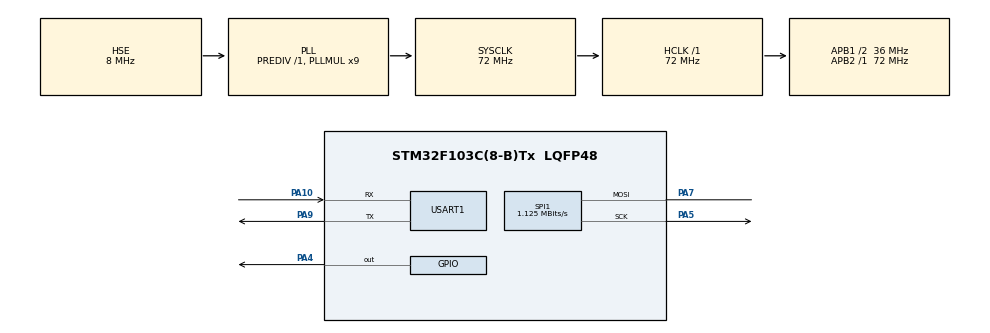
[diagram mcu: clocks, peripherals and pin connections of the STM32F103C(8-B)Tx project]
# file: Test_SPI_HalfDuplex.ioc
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Dma.Request0=USART1_RX
Dma.Request1=USART1_TX
Dma.USART1_RX.0.Direction=DMA_PERIPH_TO_MEMORY
Dma.USART1_RX.0.Instance=DMA1_Channel5
Dma.USART1_RX.0.MemDataAlignment=DMA_MDATAALIGN_BYTE
Dma.USART1_RX.0.MemInc=DMA_MINC_ENABLE
Dma.USART1_RX.0.Mode=DMA_NORMAL
Dma.USART1_RX.0.PeriphDataAlignment=DMA_PDATAALIGN_BYTE
Dma.USART1_RX.0.PeriphInc=DMA_PINC_DISABLE
Dma.USART1_RX.0.Priority=DMA_PRIORITY_LOW
Dma.USART1_TX.1.Direction=DMA_MEMORY_TO_PERIPH
Dma.USART1_TX.1.Instance=DMA1_Channel4
Dma.USART1_TX.1.MemDataAlignment=DMA_MDATAALIGN_BYTE
Dma.USART1_TX.1.MemInc=DMA_MINC_ENABLE
Dma.USART1_TX.1.Mode=DMA_NORMAL
Dma.USART1_TX.1.PeriphDataAlignment=DMA_PDATAALIGN_BYTE
Dma.USART1_TX.1.PeriphInc=DMA_PINC_DISABLE
Dma.USART1_TX.1.Priority=DMA_PRIORITY_LOW
Mcu.Family=STM32F1
Mcu.Name=STM32F103C(8-B)Tx
Mcu.Package=LQFP48
NVIC.DMA1_Channel4_IRQn=true\:4\:0\:true\:false\:true\:false\:true
NVIC.DMA1_Channel5_IRQn=true\:5\:0\:true\:false\:true\:false\:true
NVIC.PriorityGroup=NVIC_PRIORITYGROUP_4
NVIC.TIM3_IRQn=true\:10\:0\:true\:false\:true\:true\:true
NVIC.USART1_IRQn=true\:8\:0\:true\:false\:true\:true\:true
PA10.Mode=Asynchronous
PA10.Signal=USART1_RX
PA13.Mode=JTAG_4_pins
PA13.Signal=SYS_JTMS-SWDIO
PA14.Mode=JTAG_4_pins
PA14.Signal=SYS_JTCK-SWCLK
PA15.Mode=JTAG_4_pins
PA15.Signal=SYS_JTDI
PA4.Signal=GPIO_Output
PA5.Mode=Simplex_Bidirectional_Master
PA5.Signal=SPI1_SCK
PA7.Mode=Simplex_Bidirectional_Master
PA7.Signal=SPI1_MOSI
PA9.Mode=Asynchronous
PA9.Signal=USART1_TX
PB3.Mode=JTAG_4_pins
PB3.Signal=SYS_JTDO-TRACESWO
PC14-OSC32_IN.Mode=LSE-External-Oscillator
PC14-OSC32_IN.Signal=RCC_OSC32_IN
PC15-OSC32_OUT.Mode=LSE-External-Oscillator
PC15-OSC32_OUT.Signal=RCC_OSC32_OUT
PD0-OSC_IN.Mode=HSE-External-Oscillator
PD0-OSC_IN.Signal=RCC_OSC_IN
PD1-OSC_OUT.Mode=HSE-External-Oscillator
PD1-OSC_OUT.Signal=RCC_OSC_OUT
ProjectManager.HeapSize=0x200
ProjectManager.StackSize=0x400
ProjectManager.TargetToolchain=SW4STM32
RCC.AHBFreq_Value=72000000
RCC.APB1CLKDivider=RCC_HCLK_DIV2
RCC.APB1Freq_Value=36000000
RCC.APB1TimFreq_Value=72000000
RCC.APB2Freq_Value=72000000
RCC.APB2TimFreq_Value=72000000
RCC.HCLKFreq_Value=72000000
RCC.PLLMUL=RCC_PLL_MUL9
RCC.PLLSourceVirtual=RCC_PLLSOURCE_HSE
RCC.SYSCLKFreq_VALUE=72000000
RCC.SYSCLKSource=RCC_SYSCLKSOURCE_PLLCLK
RCC.USBFreq_Value=72000000
SPI1.BaudRatePrescaler=SPI_BAUDRATEPRESCALER_64
SPI1.CalculateBaudRate=1.125 MBits/s
SPI1.Direction=SPI_DIRECTION_1LINE
SPI1.FirstBit=SPI_FIRSTBIT_LSB
SPI1.Mode=SPI_MODE_MASTER
SPI1.VirtualType=VM_MASTER
TIM3.Period=4999
TIM3.Prescaler=7200
USART1.VirtualMode=VM_ASYNC
VP_TIM3_VS_ClockSourceINT.Mode=Internal
board=custom

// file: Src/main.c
/* USER CODE BEGIN Header */
/**
  ******************************************************************************
  * @file           : main.c
  * @brief          : Main program body
  ******************************************************************************
  * @attention
  *
  * <h2><center>&copy; Copyright (c) 2021 STMicroelectronics.
  * All rights reserved.</center></h2>
  *
  * This software component is licensed by ST under BSD 3-Clause license,
  * the "License"; You may not use this file except in compliance with the
  * License. You may obtain a copy of the License at:
  *                        opensource.org/licenses/BSD-3-Clause
  *
  ******************************************************************************
  */
/* USER CODE END Header */

#include "main.h"

/* USER CODE BEGIN Includes */
#include <string.h>
#include "stm32f1xx_hal.h"
#include "../ds1302/ds1302.h"
#include "../sdbg/sdbg.h"
/* USER CODE END Includes */

/* USER CODE BEGIN PD */
#define HOUR_FORMAT	(0) // 0 = 0-24h; 1= 0-12h
#define HOUR 		(17U)
#define MINUTES 	(25U)
#define SECONDS 	(00U)
#define AM_PM		(1U)
#define WEEKDAY 	(1U)
#define MONTHDAY 	(26U)
#define MONTH 		(9U)
#define YEAR 		(2021U)
/* USER CODE END PD */

/* USER CODE BEGIN PM */
#define DS1302_BCD2BIN(h,l)   (((h)*10) + (l))
/* USER CODE END PM */

SPI_HandleTypeDef hspi1;

TIM_HandleTypeDef htim3;

UART_HandleTypeDef huart1;
DMA_HandleTypeDef hdma_usart1_rx;
DMA_HandleTypeDef hdma_usart1_tx;

/* USER CODE BEGIN PV */
/* Number to print in the LCD */
static uint32_t encoderPos = 0;

static uint32_t Uart_TxInterrupts = 0;
uint8_t Rx_indx,Transfer_cplt;
char Rx_data[2],Rx_Buffer[100];
static uint8_t flag_spi=0;
static ds1302_T rtc;

static ds1302_cfg_T ds1302_config = {
	&hspi1,
	{GPIOA, GPIO_PIN_4}
};

/* USER CODE END PV */

void SystemClock_Config(void);
static void MX_GPIO_Init(void);
static void MX_DMA_Init(void);
static void MX_SPI1_Init(void);
static void MX_TIM3_Init(void);
static void MX_USART1_UART_Init(void);

/* USER CODE BEGIN 0 */
void HAL_TIM_PeriodElapsedCallback(TIM_HandleTypeDef *htim)
{
	//check if the interrupt comes from TIM3
	if (htim->Instance == TIM3){
		HAL_GPIO_TogglePin(GPIOC, GPIO_PIN_13);
		encoderPos=(encoderPos+1)%60;
		SDBG_print(&huart1,"%d : %d : %d",rtc.data.dateandtime.hours, rtc.data.dateandtime.minutes, rtc.data.dateandtime.seconds);
		flag_spi = 1u;
	}
}

void HAL_UART_TxCpltCallback(UART_HandleTypeDef *huart)
{
	if(huart->Instance == USART1)
	{
		Uart_TxInterrupts++;
	}
}

void HAL_UART_RxCpltCallback(UART_HandleTypeDef *huart)
{
	uint8_t i;
	if(huart->Instance == USART1)//Current UART
	{
		if(Rx_indx == 0)
		{
			for(i=0; i<100; i++)
			{
				Rx_Buffer[i]=0; //Clear rx_Buffer prior to use
			}
			//reset the user led if previously set
			HAL_GPIO_WritePin(GPIOC, GPIO_PIN_13, GPIO_PIN_RESET);
		}
		if(Rx_data[0]!=13)
		{
			Rx_Buffer[Rx_indx++] = Rx_data[0]; //add data to rxbuffer
		}
		else // if received data =13 (carriage return)
		{
			Rx_indx =0;
			Transfer_cplt =1; // transfer complete, data is ready
			HAL_UART_Transmit_DMA(&huart1,(uint8_t*)Rx_Buffer,(uint16_t)strlen(Rx_Buffer));
			HAL_UART_Transmit_DMA(&huart1,(uint8_t*)"\n\r",2u);
			if(!strcmp(Rx_Buffer,"On"))// LED trigger phase
			{
				HAL_GPIO_WritePin(GPIOC, GPIO_PIN_13, GPIO_PIN_SET);
			}
		}
		HAL_UART_Receive_DMA(&huart1,(uint8_t*)Rx_data,1u);// activate UART
		HAL_UART_Transmit_DMA(&huart1,(uint8_t*)Rx_data,(uint16_t)strlen(Rx_data));
	}
}

/* USER CODE END 0 */

int main(void)
{

  /* MCU Configuration--------------------------------------------------------*/

  /* Reset of all peripherals, Initializes the Flash interface and the Systick. */
  HAL_Init();

  /* Configure the system clock */
  SystemClock_Config();

  /* Initialize all configured peripherals */
  MX_GPIO_Init();
  MX_DMA_Init();
  MX_SPI1_Init();
  MX_TIM3_Init();
  MX_USART1_UART_Init();
  /* USER CODE BEGIN 2 */
	(void)HAL_UART_Receive_DMA(&huart1, (uint8_t*)Rx_data, 1u);
	DS1302_Init(&rtc, &ds1302_config);
	DS1302_setTime(&rtc, HOUR_FORMAT, HOUR, MINUTES, SECONDS, AM_PM, WEEKDAY, MONTHDAY, MONTH, YEAR);
	HAL_TIM_Base_Start_IT(&htim3);
  /* USER CODE END 2 */

  /* Infinite loop */
  /* USER CODE BEGIN WHILE */
	while (1)
	{
		if(flag_spi){
			DS1302_updateDateTime(&rtc);
			flag_spi=0;
		}
    /* USER CODE END WHILE */

	}
}

void SystemClock_Config(void)
{
  RCC_OscInitTypeDef RCC_OscInitStruct = {0};
  RCC_ClkInitTypeDef RCC_ClkInitStruct = {0};

  /** Initializes the CPU, AHB and APB busses clocks
  */
  RCC_OscInitStruct.OscillatorType = RCC_OSCILLATORTYPE_HSE;
  RCC_OscInitStruct.HSEState = RCC_HSE_ON;
  RCC_OscInitStruct.HSEPredivValue = RCC_HSE_PREDIV_DIV1;
  RCC_OscInitStruct.HSIState = RCC_HSI_ON;
  RCC_OscInitStruct.PLL.PLLState = RCC_PLL_ON;
  RCC_OscInitStruct.PLL.PLLSource = RCC_PLLSOURCE_HSE;
  RCC_OscInitStruct.PLL.PLLMUL = RCC_PLL_MUL9;
  if (HAL_RCC_OscConfig(&RCC_OscInitStruct) != HAL_OK)
  {
    Error_Handler();
  }
  /** Initializes the CPU, AHB and APB busses clocks
  */
  RCC_ClkInitStruct.ClockType = RCC_CLOCKTYPE_HCLK|RCC_CLOCKTYPE_SYSCLK
                              |RCC_CLOCKTYPE_PCLK1|RCC_CLOCKTYPE_PCLK2;
  RCC_ClkInitStruct.SYSCLKSource = RCC_SYSCLKSOURCE_PLLCLK;
  RCC_ClkInitStruct.AHBCLKDivider = RCC_SYSCLK_DIV1;
  RCC_ClkInitStruct.APB1CLKDivider = RCC_HCLK_DIV2;
  RCC_ClkInitStruct.APB2CLKDivider = RCC_HCLK_DIV1;

  if (HAL_RCC_ClockConfig(&RCC_ClkInitStruct, FLASH_LATENCY_2) != HAL_OK)
  {
    Error_Handler();
  }
}

static void MX_SPI1_Init(void)
{

  /* SPI1 parameter configuration*/
  hspi1.Instance = SPI1;
  hspi1.Init.Mode = SPI_MODE_MASTER;
  hspi1.Init.Direction = SPI_DIRECTION_1LINE;
  hspi1.Init.DataSize = SPI_DATASIZE_8BIT;
  hspi1.Init.CLKPolarity = SPI_POLARITY_LOW;
  hspi1.Init.CLKPhase = SPI_PHASE_1EDGE;
  hspi1.Init.NSS = SPI_NSS_SOFT;
  hspi1.Init.BaudRatePrescaler = SPI_BAUDRATEPRESCALER_64;
  hspi1.Init.FirstBit = SPI_FIRSTBIT_LSB;
  hspi1.Init.TIMode = SPI_TIMODE_DISABLE;
  hspi1.Init.CRCCalculation = SPI_CRCCALCULATION_DISABLE;
  hspi1.Init.CRCPolynomial = 10;
  if (HAL_SPI_Init(&hspi1) != HAL_OK)
  {
    Error_Handler();
  }

}

static void MX_TIM3_Init(void)
{

  TIM_ClockConfigTypeDef sClockSourceConfig = {0};
  TIM_MasterConfigTypeDef sMasterConfig = {0};

  htim3.Instance = TIM3;
  htim3.Init.Prescaler = 7200;
  htim3.Init.CounterMode = TIM_COUNTERMODE_UP;
  htim3.Init.Period = 4999;
  htim3.Init.ClockDivision = TIM_CLOCKDIVISION_DIV1;
  htim3.Init.AutoReloadPreload = TIM_AUTORELOAD_PRELOAD_DISABLE;
  if (HAL_TIM_Base_Init(&htim3) != HAL_OK)
  {
    Error_Handler();
  }
  sClockSourceConfig.ClockSource = TIM_CLOCKSOURCE_INTERNAL;
  if (HAL_TIM_ConfigClockSource(&htim3, &sClockSourceConfig) != HAL_OK)
  {
    Error_Handler();
  }
  sMasterConfig.MasterOutputTrigger = TIM_TRGO_RESET;
  sMasterConfig.MasterSlaveMode = TIM_MASTERSLAVEMODE_DISABLE;
  if (HAL_TIMEx_MasterConfigSynchronization(&htim3, &sMasterConfig) != HAL_OK)
  {
    Error_Handler();
  }

}

static void MX_USART1_UART_Init(void)
{

  huart1.Instance = USART1;
  huart1.Init.BaudRate = 115200;
  huart1.Init.WordLength = UART_WORDLENGTH_8B;
  huart1.Init.StopBits = UART_STOPBITS_1;
  huart1.Init.Parity = UART_PARITY_NONE;
  huart1.Init.Mode = UART_MODE_TX_RX;
  huart1.Init.HwFlowCtl = UART_HWCONTROL_NONE;
  huart1.Init.OverSampling = UART_OVERSAMPLING_16;
  if (HAL_UART_Init(&huart1) != HAL_OK)
  {
    Error_Handler();
  }

}

static void MX_DMA_Init(void)
{

  /* DMA controller clock enable */
  __HAL_RCC_DMA1_CLK_ENABLE();

  /* DMA interrupt init */
  /* DMA1_Channel4_IRQn interrupt configuration */
  HAL_NVIC_SetPriority(DMA1_Channel4_IRQn, 4, 0);
  HAL_NVIC_EnableIRQ(DMA1_Channel4_IRQn);
  /* DMA1_Channel5_IRQn interrupt configuration */
  HAL_NVIC_SetPriority(DMA1_Channel5_IRQn, 5, 0);
  HAL_NVIC_EnableIRQ(DMA1_Channel5_IRQn);

}

static void MX_GPIO_Init(void)
{
  GPIO_InitTypeDef GPIO_InitStruct = {0};

  /* GPIO Ports Clock Enable */
  __HAL_RCC_GPIOC_CLK_ENABLE();
  __HAL_RCC_GPIOD_CLK_ENABLE();
  __HAL_RCC_GPIOA_CLK_ENABLE();
  __HAL_RCC_GPIOB_CLK_ENABLE();

  /*Configure GPIO pin Output Level */
  HAL_GPIO_WritePin(GPIOA, GPIO_PIN_4, GPIO_PIN_RESET);

  /*Configure GPIO pin : PA4 */
  GPIO_InitStruct.Pin = GPIO_PIN_4;
  GPIO_InitStruct.Mode = GPIO_MODE_OUTPUT_PP;
  GPIO_InitStruct.Pull = GPIO_NOPULL;
  GPIO_InitStruct.Speed = GPIO_SPEED_FREQ_LOW;
  HAL_GPIO_Init(GPIOA, &GPIO_InitStruct);

}

void Error_Handler(void)
{
}

/************************ (C) COPYRIGHT STMicroelectronics *****END OF FILE****/
